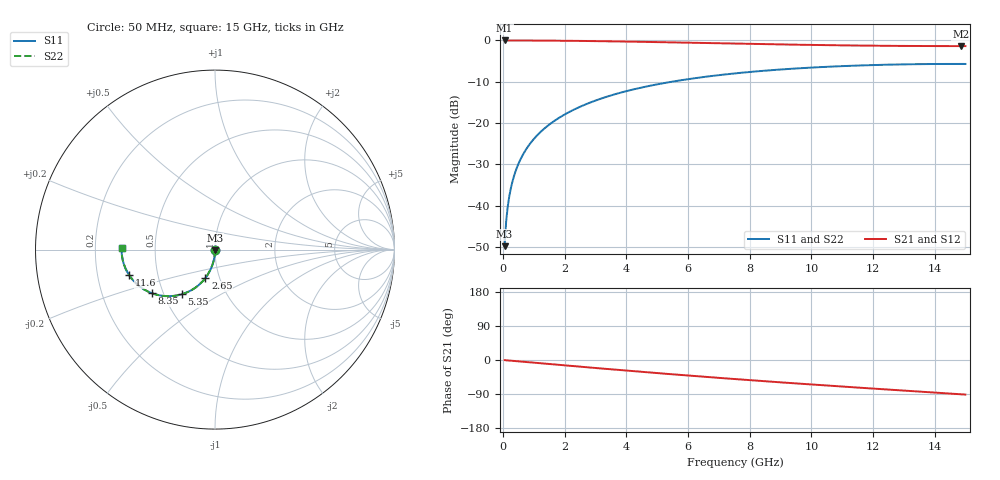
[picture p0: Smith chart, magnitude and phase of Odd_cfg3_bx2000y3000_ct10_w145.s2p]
! Sonnet Data File
! From: emgraph Version : 16.52
! From Emgraph Data: Waveguide2
! Data File Written: 09/24/2017 11:30:26
!< HDATE 09/24/2017 11:22:23
!< MDATE 09/24/2017 11:22:23
# GHZ S MA R 50.00000
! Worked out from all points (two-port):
!   300 points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, 50 MHz to 15 GHz, reference 50 ohm
!   highest |S21| = 0.00 dB at 50 MHz (marker M1); lowest = -1.4 dB at 14.85 GHz (marker M2)
!   |S21| within 3 dB of the highest: start of sweep to end of sweep
!   lowest |S11| = -49.8 dB at 50 MHz (marker M3), VSWR 1.01, Z = 50 - j0.324 ohm
!   |S11| at or under -10 dB: start of sweep to 5.464 GHz
!   |S22| runs from -49.8 to -5.7 dB; largest |S21 - S12| = 0
!   S11 on the Smith chart (normalised r, x): 50 MHz: 1.00, -0.01; 2.65 GHz: 0.86, -0.28; 5.35 GHz: 0.61, -0.34; 8.35 GHz: 0.43, -0.26; 11.6 GHz: 0.34, -0.13; 15 GHz: 0.32, +0.01
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0.05  0.003244 -90.4  1 -0.4  1 -0.4  0.003244 -90.4
!< P1 F=0.05 Eeff=(6.41674385 -3.1469e-5) Z0=(28.089164 6.58968e-5) R=0.18583564 C=0.07790469
!< P2 F=0.05 Eeff=(6.41674385 -3.1469e-5) Z0=(28.089164 6.58968e-5) R=0.18583564 C=0.07790469
0.1  0.006463 -90.7  1 -0.7  1 -0.7  0.006464 -90.7
0.15  0.009684 -91.0  0.9999 -1.1  0.9999 -1.1  0.009687 -91.0
0.2  0.01291 -91.4  0.9999 -1.4  0.9999 -1.4  0.01291 -91.4
0.25  0.01613 -91.8  0.9999 -1.8  0.9999 -1.8  0.01614 -91.8
0.4  0.02581 -92.8  0.9997 -2.9  0.9997 -2.9  0.02581 -92.8
0.65  0.04192 -94.6  0.9991 -4.6  0.9991 -4.6  0.04192 -94.6
1  0.06437 -97.1  0.9979 -7.1  0.9979 -7.1  0.06437 -97.1
1.4  0.08978 -100.0  0.996 -9.9  0.996 -9.9  0.08978 -100.0
1.9  0.121 -103.5  0.9926 -13.5  0.9926 -13.5  0.1211 -103.5
2.55  0.1608 -107.9  0.9868 -18.0  0.9868 -18.0  0.1608 -107.9
2.65  0.1668 -108.6  0.9858 -18.7  0.9858 -18.7  0.1668 -108.6
3.75  0.2301 -116.2  0.9731 -26.2  0.9731 -26.2  0.2301 -116.2
5.05  0.2968 -124.9  0.9549 -34.9  0.9549 -34.9  0.2968 -124.8
5.35  0.311 -126.8  0.9502 -36.8  0.9502 -36.8  0.3109 -126.8
7.55  0.4004 -140.5  0.9161 -50.5  0.9161 -50.5  0.4004 -140.5
8.35  0.4266 -145.2  0.9044 -55.2  0.9044 -55.2  0.4265 -145.2
10.05  0.4707 -154.8  0.8823 -64.8  0.8823 -64.8  0.4708 -154.8
11.6  0.4985 -163.3  0.8671 -73.3  0.8671 -73.3  0.4987 -163.3
12.55  0.5099 -168.3  0.8606 -78.3  0.8606 -78.3  0.5102 -168.3
14.85  0.52 179.6  0.8543 -90.4  0.8543 -90.4  0.52 179.6
15  0.5198 178.8  0.8543 -91.2  0.8543 -91.2  0.5198 178.8
